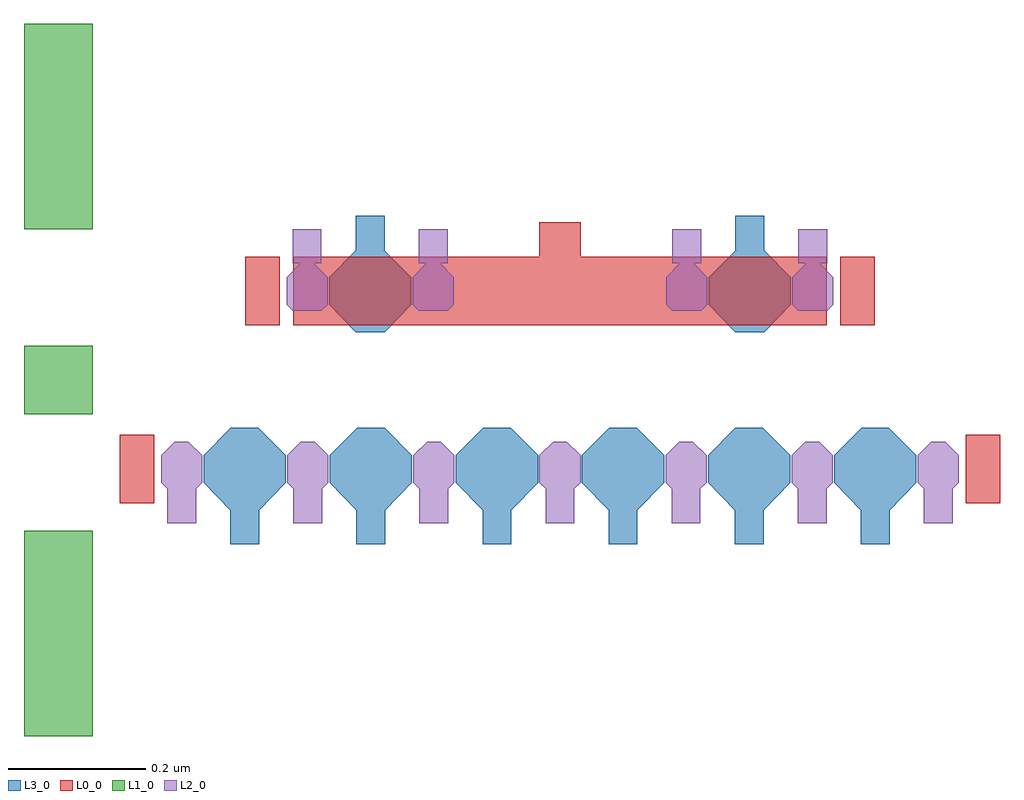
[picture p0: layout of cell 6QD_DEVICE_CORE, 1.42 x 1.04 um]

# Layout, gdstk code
import gdstk
lib = gdstk.Library(unit=1e-6, precision=1e-09)
def R(c, l, rs):  # rectangles x0, y0, x1, y1
    for r in rs: c.add(gdstk.rectangle(r[:2], r[2:], *l))
def P(c, l, *ps):  # polygons
    for p in ps: c.add(gdstk.Polygon(p, *l))
L0_0 = (0, 0)
L1_0 = (1, 0)
L2_0 = (2, 0)
L3_0 = (3, 0)

c_6qd_device_core = lib.new_cell('6QD_DEVICE_CORE')
R(c_6qd_device_core, L0_0, [(-0.09,-0.05,-0.04,0.05), (1.144,-0.05,1.194,0.05), (0.093,0.21,0.143,0.31), (0.961,0.21,1.011,0.31)])
P(c_6qd_device_core, L0_0, [(0.941,0.31),(0.582,0.31),(0.582,0.36),(0.522,0.36),(0.522,0.31),(0.163,0.31),(0.163,0.21),(0.941,0.21)])
R(c_6qd_device_core, L1_0, [(-0.23,-0.39,-0.13,-0.09), (-0.23,0.08,-0.13,0.18), (-0.23,0.35,-0.13,0.65)])
P(c_6qd_device_core, L2_0, [(0.021,-0.079),(0.021,-0.029),(0.03,-0.02),(0.03,0.02),(0.01,0.04),(-0.01,0.04),(-0.03,0.02),(-0.03,-0.02),(-0.021,-0.029),(-0.021,-0.079)],
  [(0.205,-0.079),(0.205,-0.029),(0.214,-0.02),(0.214,0.02),(0.194,0.04),(0.174,0.04),(0.154,0.02),(0.154,-0.02),(0.163,-0.029),(0.163,-0.079)],
  [(0.389,-0.079),(0.389,-0.029),(0.398,-0.02),(0.398,0.02),(0.378,0.04),(0.358,0.04),(0.338,0.02),(0.338,-0.02),(0.347,-0.029),(0.347,-0.079)],
  [(0.573,-0.079),(0.573,-0.029),(0.582,-0.02),(0.582,0.02),(0.562,0.04),(0.542,0.04),(0.522,0.02),(0.522,-0.02),(0.531,-0.029),(0.531,-0.079)],
  [(0.757,-0.079),(0.757,-0.029),(0.766,-0.02),(0.766,0.02),(0.746,0.04),(0.726,0.04),(0.706,0.02),(0.706,-0.02),(0.715,-0.029),(0.715,-0.079)],
  [(0.941,-0.079),(0.941,-0.029),(0.95,-0.02),(0.95,0.02),(0.93,0.04),(0.91,0.04),(0.89,0.02),(0.89,-0.02),(0.899,-0.029),(0.899,-0.079)],
  [(1.125,-0.079),(1.125,-0.029),(1.134,-0.02),(1.134,0.02),(1.114,0.04),(1.094,0.04),(1.074,0.02),(1.074,-0.02),(1.083,-0.029),(1.083,-0.079)],
  [(0.153,0.24),(0.162,0.231),(0.204,0.231),(0.213,0.24),(0.213,0.28),(0.193,0.3),(0.204,0.3),(0.204,0.35),(0.162,0.35),(0.162,0.3),(0.173,0.3),(0.153,0.28)],
  [(0.337,0.24),(0.346,0.231),(0.388,0.231),(0.397,0.24),(0.397,0.28),(0.377,0.3),(0.388,0.3),(0.388,0.35),(0.346,0.35),(0.346,0.3),(0.357,0.3),(0.337,0.28)],
  [(0.707,0.24),(0.716,0.231),(0.758,0.231),(0.767,0.24),(0.767,0.28),(0.747,0.3),(0.758,0.3),(0.758,0.35),(0.716,0.35),(0.716,0.3),(0.727,0.3),(0.707,0.28)],
  [(0.891,0.24),(0.9,0.231),(0.942,0.231),(0.951,0.24),(0.951,0.28),(0.931,0.3),(0.942,0.3),(0.942,0.35),(0.9,0.35),(0.9,0.3),(0.911,0.3),(0.891,0.28)])
P(c_6qd_device_core, L3_0, [(0.113,-0.11),(0.113,-0.06),(0.152,-0.02),(0.152,0.02),(0.112,0.06),(0.072,0.06),(0.032,0.02),(0.032,-0.02),(0.071,-0.06),(0.071,-0.11)],
  [(0.297,-0.11),(0.297,-0.06),(0.336,-0.02),(0.336,0.02),(0.296,0.06),(0.256,0.06),(0.216,0.02),(0.216,-0.02),(0.255,-0.06),(0.255,-0.11)],
  [(0.481,-0.11),(0.481,-0.06),(0.52,-0.02),(0.52,0.02),(0.48,0.06),(0.44,0.06),(0.4,0.02),(0.4,-0.02),(0.439,-0.06),(0.439,-0.11)],
  [(0.665,-0.11),(0.665,-0.06),(0.704,-0.02),(0.704,0.02),(0.664,0.06),(0.624,0.06),(0.584,0.02),(0.584,-0.02),(0.623,-0.06),(0.623,-0.11)],
  [(0.849,-0.11),(0.849,-0.06),(0.888,-0.02),(0.888,0.02),(0.848,0.06),(0.808,0.06),(0.768,0.02),(0.768,-0.02),(0.807,-0.06),(0.807,-0.11)],
  [(1.033,-0.11),(1.033,-0.06),(1.072,-0.02),(1.072,0.02),(1.032,0.06),(0.992,0.06),(0.952,0.02),(0.952,-0.02),(0.991,-0.06),(0.991,-0.11)],
  [(0.215,0.24),(0.254,0.2),(0.296,0.2),(0.335,0.24),(0.335,0.28),(0.295,0.32),(0.296,0.32),(0.296,0.37),(0.254,0.37),(0.254,0.32),(0.255,0.32),(0.215,0.28)],
  [(0.769,0.24),(0.808,0.2),(0.85,0.2),(0.889,0.24),(0.889,0.28),(0.849,0.32),(0.85,0.32),(0.85,0.37),(0.808,0.37),(0.808,0.32),(0.809,0.32),(0.769,0.28)])

lib.write_gds('6QD_DEVICE_CORE.gds')
